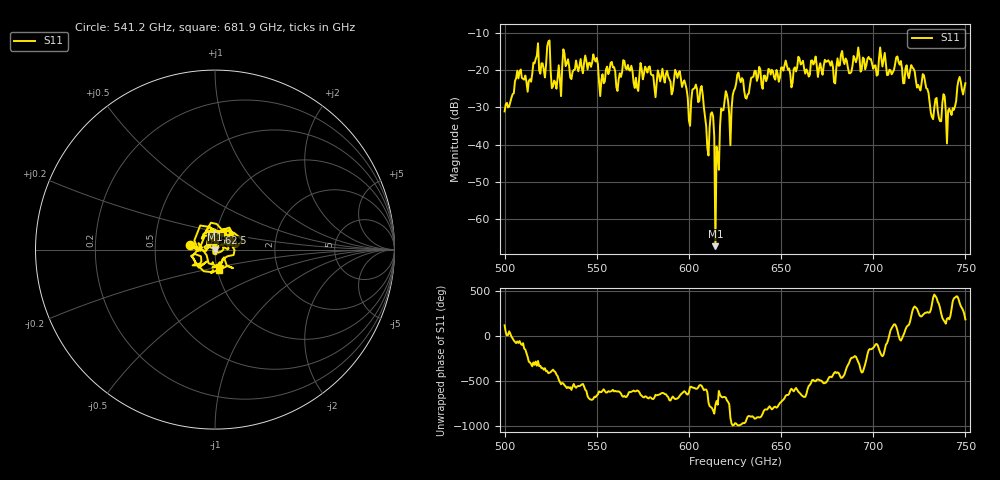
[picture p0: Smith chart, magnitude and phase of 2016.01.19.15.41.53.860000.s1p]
!Created with skrf (http://scikit-rf.org).
# GHz S RI R 50.0
!freq ReS11 ImS11
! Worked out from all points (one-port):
!   401 points, 500 GHz to 750 GHz, reference 50 ohm
!   lowest |S11| = -67.3 dB at 614.4 GHz (marker M1), VSWR 1.00, Z = 50 - j0.0328 ohm
!   |S11| at or under -10 dB: start of sweep to end of sweep
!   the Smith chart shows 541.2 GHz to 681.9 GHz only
!   S11 on the Smith chart (normalised r, x): 541.2 GHz: 0.76, +0.04; 562.5 GHz: 0.97, +0.18; 681.9 GHz: 1.02, -0.24
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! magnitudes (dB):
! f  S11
! 500 GHz  -31.1
! 507.5 GHz  -22.2
! 513.8 GHz  -22.4
! 516.9 GHz  -17.0
! 520.6 GHz  -18.2
! 523.8 GHz  -12.3
! 526.9 GHz  -22.8
! 531.2 GHz  -19.1
! 541.2 GHz  -17.0
! 562.5 GHz  -20.9
! 593.8 GHz  -22.1
! 600 GHz  -33.5
! 606.9 GHz  -24.3
! 610 GHz  -40.9
! 612.5 GHz  -31.3
! 614.4 GHz  -67.3
! 615.6 GHz  -42.5
! 616.2 GHz  -46.8
! 618.8 GHz  -30.7
! 622.5 GHz  -40.2
! 625 GHz  -24.9
! 656.2 GHz  -23.4
! 681.9 GHz  -18.7
! 687.5 GHz  -20.8
! 718.8 GHz  -21.2
! 741.2 GHz  -30.3
! 746.9 GHz  -21.8
! 750 GHz  -23.5
